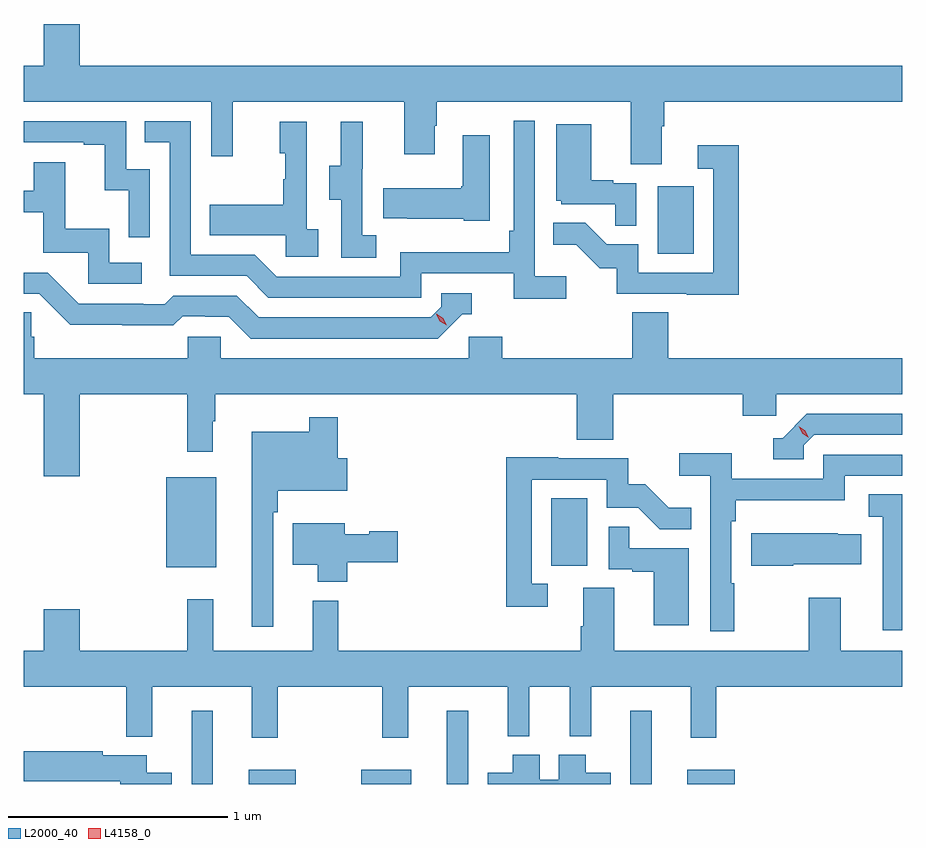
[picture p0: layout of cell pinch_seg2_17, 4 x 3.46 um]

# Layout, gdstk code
import gdstk
lib = gdstk.Library(unit=1e-6, precision=1e-09)
def R(c, l, rs):  # rectangles x0, y0, x1, y1
    for r in rs: c.add(gdstk.rectangle(r[:2], r[2:], *l))
def P(c, l, *ps):  # polygons
    for p in ps: c.add(gdstk.Polygon(p, *l))
L2000_40 = (2000, 40)
L4158_0 = (4158, 0)

pinch_seg2_17 = lib.new_cell('pinch_seg2_17')
R(pinch_seg2_17, L2000_40, [(1088.757,659.181,1088.854,659.515), (1089.017,659.181,1089.232,659.245), (1089.53,659.181,1089.757,659.245), (1089.92,659.181,1090.017,659.515), (1090.755,659.181,1090.852,659.515), (1091.015,659.181,1091.23,659.245), (1088.642,660.167,1088.869,660.577), (1090.394,660.174,1090.558,660.481), (1090.88,661.596,1091.044,661.903)])
P(pinch_seg2_17, L2000_40, [(1090.897,662.176),(1090.91,662.176),(1090.91,662.288),(1091.993,662.288),(1091.993,662.452),(1088.248,662.452),(1088.248,662.641),(1088.084,662.641),(1088.084,662.452),(1087.993,662.452),(1087.993,662.288),(1088.847,662.288),(1088.847,662.04),(1088.945,662.04),(1088.945,662.288),(1089.725,662.288),(1089.725,662.049),(1089.865,662.049),(1089.865,662.177),(1089.873,662.177),(1089.873,662.288),(1090.757,662.288),(1090.757,662.002),(1090.897,662.002)],
  [(1090.462,661.492),(1090.32,661.492),(1090.32,662.2),(1090.224,662.2),(1090.224,661.699),(1090.204,661.699),(1090.204,661.603),(1089.708,661.603),(1089.708,661.491),(1089.144,661.491),(1089.045,661.59),(1088.754,661.59),(1088.754,662.199),(1088.545,662.199),(1088.545,662.103),(1088.658,662.103),(1088.658,661.494),(1089.008,661.494),(1089.107,661.395),(1089.804,661.395),(1089.804,661.506),(1090.223,661.506),(1090.223,661.39),(1090.462,661.39)],
  [(1088.568,661.98),(1088.46,661.98),(1088.46,662.199),(1087.993,662.199),(1087.993,662.103),(1088.267,662.103),(1088.267,662.091),(1088.363,662.091),(1088.363,661.883),(1088.472,661.883),(1088.472,661.671),(1088.568,661.671)],
  [(1089.598,661.679),(1089.534,661.679),(1089.534,661.983),(1089.536,661.983),(1089.536,662.197),(1089.437,662.197),(1089.437,661.995),(1089.383,661.995),(1089.383,661.84),(1089.438,661.84),(1089.438,661.576),(1089.598,661.576)],
  [(1089.334,661.706),(1089.282,661.706),(1089.282,662.197),(1089.158,662.197),(1089.158,662.052),(1089.184,662.052),(1089.184,661.934),(1089.174,661.934),(1089.174,661.819),(1088.839,661.819),(1088.839,661.679),(1089.186,661.679),(1089.186,661.581),(1089.334,661.581)],
  [(1090.782,661.917),(1090.676,661.917),(1090.676,661.93),(1090.576,661.93),(1090.576,662.185),(1090.418,662.185),(1090.418,661.836),(1090.44,661.836),(1090.44,661.821),(1090.687,661.821),(1090.687,661.723),(1090.782,661.723)],
  [(1090.114,662.134),(1089.992,662.134),(1089.992,661.902),(1089.985,661.902),(1089.985,661.894),(1089.631,661.894),(1089.631,661.757),(1089.739,661.757),(1089.739,661.754),(1089.996,661.754),(1089.996,661.745),(1090.114,661.745)],
  [(1091.249,662.089),(1091.061,662.089),(1091.061,661.983),(1091.133,661.983),(1091.133,661.509),(1090.791,661.509),(1090.791,661.638),(1090.647,661.638),(1090.549,661.736),(1090.405,661.736),(1090.405,661.637),(1090.509,661.637),(1090.616,661.53),(1090.693,661.53),(1090.693,661.413),(1091.011,661.413),(1091.011,661.408),(1091.249,661.408)],
  [(1088.53,661.554),(1088.382,661.554),(1088.382,661.708),(1088.183,661.708),(1088.183,662.011),(1088.039,662.011),(1088.039,661.881),(1087.993,661.881),(1087.993,661.785),(1088.081,661.785),(1088.081,661.599),(1088.286,661.599),(1088.286,661.458),(1088.53,661.458)],
  [(1089.99,661.32),(1090.033,661.32),(1090.033,661.416),(1089.894,661.416),(1089.894,661.353),(1089.846,661.305),(1089.063,661.305),(1088.964,661.404),(1088.675,661.404),(1088.636,661.365),(1088.537,661.365),(1088.537,661.368),(1088.244,661.368),(1088.103,661.509),(1087.993,661.509),(1087.993,661.413),(1088.064,661.413),(1088.206,661.271),(1088.442,661.271),(1088.442,661.269),(1088.675,661.269),(1088.717,661.311),(1088.82,661.311),(1088.82,661.308),(1088.927,661.308),(1089.026,661.209),(1089.879,661.209)],
  [(1088.248,660.956),(1088.737,660.956),(1088.737,660.693),(1088.854,660.693),(1088.854,660.833),(1088.866,660.833),(1088.866,660.956),(1090.511,660.956),(1090.511,660.748),(1090.676,660.748),(1090.676,660.956),(1091.267,660.956),(1091.267,660.858),(1091.418,660.858),(1091.418,660.956),(1091.993,660.956),(1091.993,661.12),(1090.928,661.12),(1090.928,661.328),(1090.763,661.328),(1090.763,661.12),(1090.172,661.12),(1090.172,661.218),(1090.02,661.218),(1090.02,661.12),(1088.889,661.12),(1088.889,661.218),(1088.739,661.218),(1088.739,661.12),(1088.042,661.12),(1088.042,661.218),(1088.027,661.218),(1088.027,661.328),(1087.993,661.328),(1087.993,660.956),(1088.084,660.956),(1088.084,660.582),(1088.248,660.582)],
  [(1091.544,660.723),(1091.592,660.771),(1091.993,660.771),(1091.993,660.867),(1091.559,660.867),(1091.448,660.756),(1091.405,660.756),(1091.405,660.66),(1091.544,660.66)],
  [(1089.129,660.419),(1089.149,660.419),(1089.149,660.515),(1089.466,660.515),(1089.466,660.663),(1089.422,660.663),(1089.422,660.85),(1089.294,660.85),(1089.294,660.784),(1089.032,660.784),(1089.032,659.898),(1089.129,659.898)],
  [(1091.227,660.095),(1091.214,660.095),(1091.214,660.377),(1091.234,660.377),(1091.234,660.473),(1091.73,660.473),(1091.73,660.585),(1091.993,660.585),(1091.993,660.681),(1091.634,660.681),(1091.634,660.57),(1091.216,660.57),(1091.216,660.686),(1090.977,660.686),(1090.977,660.584),(1091.118,660.584),(1091.118,659.877),(1091.227,659.877)],
  [(1090.378,660.093),(1090.305,660.093),(1090.305,660.567),(1090.647,660.567),(1090.647,660.438),(1090.791,660.438),(1090.889,660.34),(1091.033,660.34),(1091.033,660.439),(1090.929,660.439),(1090.822,660.546),(1090.746,660.546),(1090.746,660.663),(1090.427,660.663),(1090.427,660.668),(1090.189,660.668),(1090.189,659.988),(1090.378,659.988)],
  [(1091.993,660.5),(1091.841,660.5),(1091.841,660.397),(1091.904,660.397),(1091.904,660.093),(1091.903,660.093),(1091.903,659.88),(1091.993,659.88)],
  [(1089.467,660.19),(1089.697,660.19),(1089.697,660.332),(1089.567,660.332),(1089.567,660.319),(1089.454,660.319),(1089.454,660.367),(1089.218,660.367),(1089.218,660.179),(1089.332,660.179),(1089.332,660.101),(1089.467,660.101)],
  [(1091.02,660.255),(1090.751,660.255),(1090.751,660.353),(1090.656,660.353),(1090.656,660.159),(1090.763,660.159),(1090.763,660.147),(1090.862,660.147),(1090.862,659.904),(1091.02,659.904)],
  [(1091.497,660.182),(1091.807,660.182),(1091.807,660.319),(1091.699,660.319),(1091.699,660.322),(1091.306,660.322),(1091.306,660.175),(1091.497,660.175)],
  [(1089.149,659.624),(1089.625,659.624),(1089.625,659.391),(1089.743,659.391),(1089.743,659.624),(1090.196,659.624),(1090.196,659.399),(1090.295,659.399),(1090.295,659.624),(1090.478,659.624),(1090.478,659.399),(1090.577,659.399),(1090.577,659.624),(1091.03,659.624),(1091.03,659.391),(1091.147,659.391),(1091.147,659.624),(1091.993,659.624),(1091.993,659.788),(1091.713,659.788),(1091.713,660.028),(1091.566,660.028),(1091.566,659.788),(1090.681,659.788),(1090.681,660.074),(1090.541,660.074),(1090.541,659.9),(1090.529,659.9),(1090.529,659.788),(1089.425,659.788),(1089.425,660.016),(1089.308,660.016),(1089.308,659.788),(1088.855,659.788),(1088.855,660.022),(1088.737,660.022),(1088.737,659.788),(1088.248,659.788),(1088.248,659.977),(1088.084,659.977),(1088.084,659.788),(1087.993,659.788),(1087.993,659.624),(1088.461,659.624),(1088.461,659.396),(1088.579,659.396),(1088.579,659.624),(1089.032,659.624),(1089.032,659.391),(1089.149,659.391)],
  [(1088.668,659.233),(1088.554,659.233),(1088.554,659.311),(1088.352,659.311),(1088.352,659.331),(1087.993,659.331),(1087.993,659.194),(1088.432,659.194),(1088.432,659.181),(1088.668,659.181)],
  [(1090.666,659.233),(1090.552,659.233),(1090.552,659.314),(1090.43,659.314),(1090.43,659.2),(1090.342,659.2),(1090.342,659.314),(1090.22,659.314),(1090.22,659.233),(1090.106,659.233),(1090.106,659.181),(1090.666,659.181)])
P(pinch_seg2_17, L4158_0, [(1091.568,660.757),(1091.537,660.777),(1091.521,660.809),(1091.521,660.809),(1091.521,660.809),(1091.552,660.79),(1091.568,660.758),(1091.568,660.757)],
  [(1089.919,661.269),(1089.888,661.288),(1089.872,661.321),(1089.872,661.321),(1089.872,661.321),(1089.903,661.302),(1089.92,661.269),(1089.92,661.269)])

lib.write_gds('pinch_seg2_17.gds')
